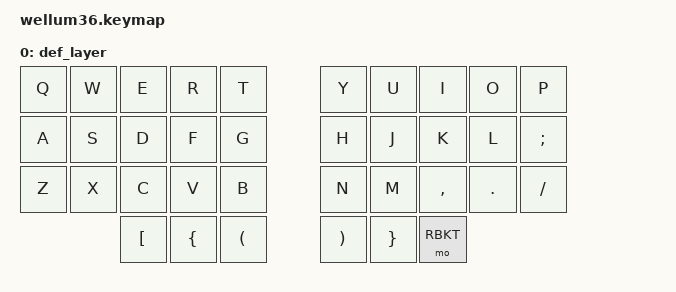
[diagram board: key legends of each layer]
#include <behaviors.dtsi>
#include <dt-bindings/zmk/keys.h>
#include <dt-bindings/zmk/bt.h>
#include <dt-bindings/zmk/ext_power.h>

/ {
    keymap {
        compatible = "zmk,keymap";

        def_layer {
            bindings = <
&kp Q          &kp W          &kp E          &kp R         &kp T             &kp Y          &kp U          &kp I          &kp O          &kp P
&kp A          &kp S          &kp D          &kp F         &kp G             &kp H          &kp J          &kp K          &kp L          &kp SEMI
&kp Z          &kp X          &kp C          &kp V         &kp B             &kp N          &kp M          &kp COMMA      &kp DOT        &kp FSLH
                              &kp LBKT       &kp LBRC      &kp LPAR          &kp RPAR       &kp RBRC       &mo RBKT
            >;
        };
    };
};
